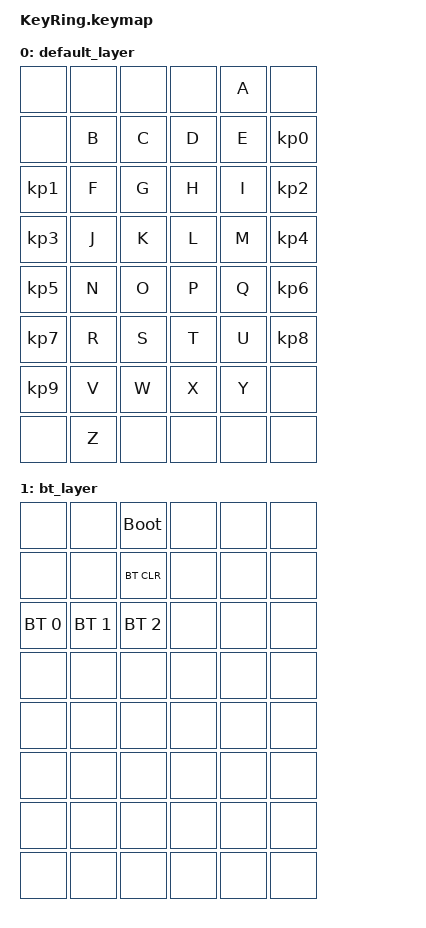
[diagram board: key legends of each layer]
#include <behaviors.dtsi>
#include <dt-bindings/zmk/keys.h>
#include <dt-bindings/zmk/bt.h>

/ {
    keymap {
            compatible = "zmk,keymap";

            default_layer {
                bindings = <
                    &none       &none    &none    &none    &kp A    &none
                    &none       &kp B    &kp C    &kp D    &kp E    &kp KP_N0
                    &kp KP_N1   &kp F    &kp G    &kp H    &kp I    &kp KP_N2
                    &kp KP_N3   &kp J    &kp K    &kp L    &kp M    &kp KP_N4
                    &kp KP_N5   &kp N    &kp O    &kp P    &kp Q    &kp KP_N6
                    &kp KP_N7   &kp R    &kp S    &kp T    &kp U    &kp KP_N8
                    &kp KP_N9   &kp V    &kp W    &kp X    &kp Y    &none   
                    &none       &kp Z    &none    &none    &none    &none
                >;
            };

            bt_layer {
                bindings = <
                    &none           &none           &bootloader     &none   &none    &none
                    &none           &none           &bt BT_CLR      &none   &none    &none
                    &bt BT_SEL 0    &bt BT_SEL 1    &bt BT_SEL 2    &none   &none    &none
                    &none           &none           &none           &none   &none    &none
                    &none           &none           &none           &none   &none    &none
                    &none           &none           &none           &none   &none    &none
                    &none           &none           &none           &none   &none    &none
                    &none           &none           &none           &none   &none    &none
                >;
            };
    };
};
